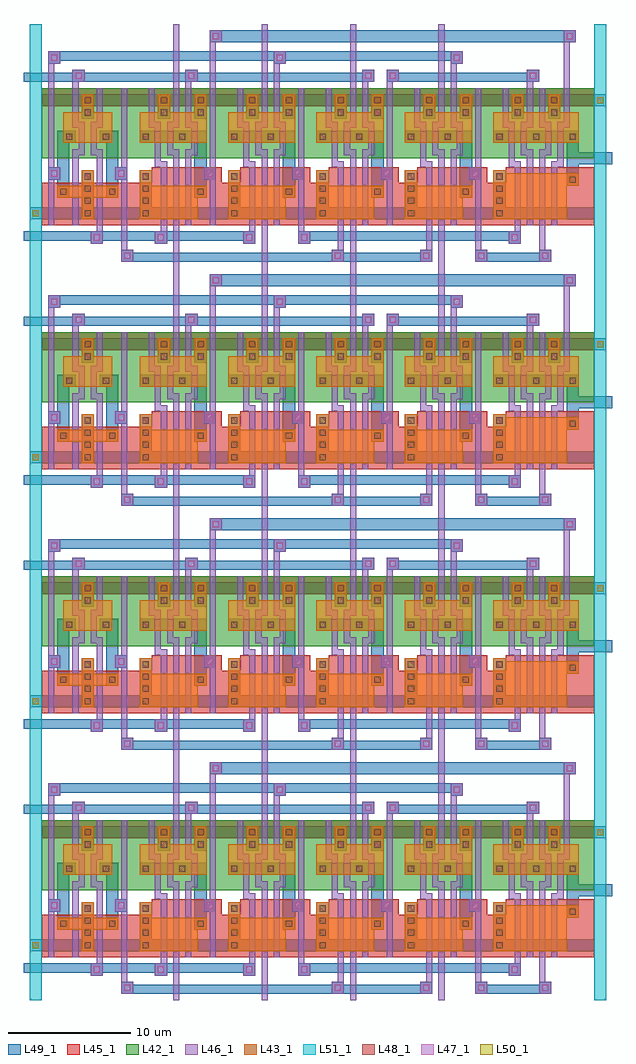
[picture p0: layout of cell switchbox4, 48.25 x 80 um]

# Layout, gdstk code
import gdstk
lib = gdstk.Library(unit=1e-6, precision=1e-11)
def R(c, l, rs):  # rectangles x0, y0, x1, y1
    for r in rs: c.add(gdstk.rectangle(r[:2], r[2:], *l))
def A(c, l, x, y, w, h, nx, ny, dx, dy):  # array of equal rectangles
    R(c, l, [(x+i*dx, y+j*dy, x+i*dx+w, y+j*dy+h) for i in range(nx) for j in range(ny)])
L42_1 = (42, 1)
L43_1 = (43, 1)
L45_1 = (45, 1)
L46_1 = (46, 1)
L47_1 = (47, 1)
L48_1 = (48, 1)
L49_1 = (49, 1)
L50_1 = (50, 1)
L51_1 = (51, 1)

dubinv = lib.new_cell('dubinv')
R(dubinv, L42_1, [(0,5.5,7.5,11.25)])
R(dubinv, L43_1, [(3.25,0.5,4.25,2.25), (1.25,2.25,6.25,3.25), (3.25,3.25,4.25,4.5), (1.75,6.75,5.75,9.25), (3.25,9.25,4.25,10.75)])
R(dubinv, L45_1, [(0,0,7.5,3.5), (0,9.75,7.5,11.25)])
R(dubinv, L46_1, [(0.5,0,1,0.5), (0.5,0,1,0.5), (0.5,0,1,0.5), (0.5,0,1,3.75), (2.5,0,3,0.5), (2.5,0,3,0.5), (2.5,0,3,0.5), (2.5,0,3,5.75), (4.5,0,5,0.5), (4.5,0,5,0.5), (4.5,0,5,0.5), (4.5,0,5,5.75), (6.5,0,7,0.5), (6.5,0,7,0.5), (6.5,0,7,0.5), (6.5,0,7,3.75), (0.5,3.75,1.5,4.75), (6,3.75,7,4.75), (0.5,4.75,1,11.25), (6.5,4.75,7,11.25), (2.5,5.75,3.5,6.25), (4,5.75,5,6.25), (3,6.25,3.5,8), (4,6.25,4.5,8), (2.5,8,3.5,8.5), (4,8,5,8.5), (2.5,8.5,3,11.25), (4.5,8.5,5,11.25), (0.5,10.75,1,11.25), (0.5,10.75,1,11.25), (0.5,10.75,1,11.25), (2.5,10.75,3,11.25), (2.5,10.75,3,11.25), (2.5,10.75,3,11.25), (4.5,10.75,5,11.25), (4.5,10.75,5,11.25), (4.5,10.75,5,11.25), (6.5,10.75,7,11.25), (6.5,10.75,7,11.25), (6.5,10.75,7,11.25)])
R(dubinv, L47_1, [(0.75,4,1.25,4.5), (6.25,4,6.75,4.5)])
A(dubinv, L48_1, 3.5, 0.75, 0.5, 0.5, 1, 4, 0, 1)
R(dubinv, L48_1, [(1.5,2.5,2,3), (5.5,2.5,6,3), (2,7,2.5,7.5), (5,7,5.5,7.5), (3.5,9,4,9.5), (3.5,10,4,10.5)])
R(dubinv, L49_1, [(0,0.5,0.75,1.5), (0,0.5,0.75,1.5), (0,0.5,0.75,1.5), (0,0.5,7.5,1.5), (6.75,0.5,7.5,1.5), (6.75,0.5,7.5,1.5), (6.75,0.5,7.5,1.5), (3.25,1.5,4.25,4.5), (1.25,2.25,2.25,3.75), (5.25,2.25,6.25,3.75), (0.5,3.75,2.25,4.75), (5.25,3.75,7,4.75), (1.25,4.75,2.25,6.75), (5.25,4.75,6.25,6.75), (1.25,6.75,2.75,7.75), (4.75,6.75,6.25,7.75), (3.25,8.75,4.25,9.75), (0,9.75,0.75,10.75), (0,9.75,0.75,10.75), (0,9.75,0.75,10.75), (0,9.75,7.5,10.75), (6.75,9.75,7.5,10.75), (6.75,9.75,7.5,10.75), (6.75,9.75,7.5,10.75)])

nan3 = lib.new_cell('nan3')
R(nan3, L42_1, [(0,5.5,8,11.25)])
R(nan3, L43_1, [(1.25,0.5,6,2.25), (1.25,2.25,6.75,3.25), (1.25,3.25,2.25,4.5), (1.25,6.75,6.75,9.25), (2.75,9.25,3.75,10.75), (5.75,9.25,6.75,10.75)])
R(nan3, L45_1, [(0,0,8,3.5), (2.25,3.5,8,4.75), (0,9.75,8,11.25)])
A(nan3, L46_1, 2, 8, 1, 0.5, 3, 1, 1.5, 0)
R(nan3, L46_1, [(3,0,3.5,0.5), (3,0,3.5,0.5), (3,0,3.5,0.5), (3,0,3.5,4.75), (4,0,4.5,0.5), (4,0,4.5,0.5), (4,0,4.5,0.5), (4,0,4.5,5.75), (5,0,5.5,0.5), (5,0,5.5,0.5), (5,0,5.5,0.5), (5,0,5.5,5.75), (7,0,7.5,0.5), (7,0,7.5,0.5), (7,0,7.5,0.5), (7,0,7.5,3.75), (6.5,3.75,7.5,4.75), (2.5,4.75,3.5,5.25), (7,4.75,7.5,11.25), (2.5,5.25,3,5.5), (2.5,5.5,3,5.75), (2.5,5.75,3,8), (3.5,5.75,4.5,6.25), (5,5.75,6,6.25), (3.5,6.25,4,8), (5.5,6.25,6,8), (2,8.5,2.5,11.25), (4,8.5,4.5,8.75), (5,8.5,5.5,11.25), (4,8.75,4.5,11.25), (2,10.75,2.5,11.25), (2,10.75,2.5,11.25), (2,10.75,2.5,11.25), (4,10.75,4.5,11.25), (4,10.75,4.5,11.25), (4,10.75,4.5,11.25), (5,10.75,5.5,11.25), (5,10.75,5.5,11.25), (5,10.75,5.5,11.25), (7,10.75,7.5,11.25), (7,10.75,7.5,11.25), (7,10.75,7.5,11.25)])
R(nan3, L47_1, [(6.75,4,7.25,4.5)])
A(nan3, L48_1, 1.5, 0.75, 0.5, 0.5, 1, 4, 0, 1)
R(nan3, L48_1, [(6,2.5,6.5,3), (1.5,7,2,7.5), (4.5,7,5,7.5), (3,9,3.5,9.5), (6,9,6.5,9.5), (3,10,3.5,10.5), (6,10,6.5,10.5)])
R(nan3, L49_1, [(0,0.5,0.75,1.5), (0,0.5,0.75,1.5), (0,0.5,0.75,1.5), (0,0.5,8,1.5), (7.25,0.5,8,1.5), (7.25,0.5,8,1.5), (7.25,0.5,8,1.5), (1.25,1.5,2.25,4.5), (5.75,2.25,6.75,3.75), (5.75,3.75,7.5,4.75), (5.75,4.75,6.75,6.75), (1.25,6.75,6.75,7.75), (2.75,8.75,3.75,9.75), (5.75,8.75,6.75,9.75), (0,9.75,0.75,10.75), (0,9.75,0.75,10.75), (0,9.75,0.75,10.75), (0,9.75,8,10.75), (7.25,9.75,8,10.75), (7.25,9.75,8,10.75), (7.25,9.75,8,10.75)])

nan4rout = lib.new_cell('nan4rout')
R(nan4rout, L42_1, [(0,5.5,9.5,11.25)])
R(nan4rout, L43_1, [(1.25,0.5,7.25,3.25), (1.25,3.25,8.25,4.25), (1.25,4.25,2.25,4.5), (1.25,6.75,8.25,9.25), (2.75,9.25,3.75,10.75), (5.75,9.25,6.75,10.75)])
R(nan4rout, L45_1, [(0,0,9.5,3.5), (2.25,3.5,9.5,4.75), (0,9.75,9.5,11.25)])
A(nan4rout, L46_1, 2, 8, 1, 0.5, 4, 1, 1.5, 0)
R(nan4rout, L46_1, [(3,0,3.5,0.5), (3,0,3.5,0.5), (3,0,3.5,0.5), (3,0,3.5,4.75), (4,0,4.5,0.5), (4,0,4.5,0.5), (4,0,4.5,0.5), (4,0,4.5,5.75), (5,0,5.5,0.5), (5,0,5.5,0.5), (5,0,5.5,0.5), (5,0,5.5,5.75), (6,0,6.5,0.5), (6,0,6.5,0.5), (6,0,6.5,0.5), (6,0,6.5,4.75), (2.5,4.75,3.5,5.25), (6,4.75,7,5.25), (2.5,5.25,3,5.5), (6.5,5.25,7,8), (2.5,5.5,3,5.75), (2.5,5.75,3,8), (3.5,5.75,4.5,6.25), (5,5.75,6,6.25), (3.5,6.25,4,8), (5.5,6.25,6,8), (2,8.5,2.5,11.25), (4,8.5,4.5,8.75), (5,8.5,5.5,11.25), (7,8.5,7.5,11.25), (4,8.75,4.5,11.25), (2,10.75,2.5,11.25), (2,10.75,2.5,11.25), (2,10.75,2.5,11.25), (4,10.75,4.5,11.25), (4,10.75,4.5,11.25), (4,10.75,4.5,11.25), (5,10.75,5.5,11.25), (5,10.75,5.5,11.25), (5,10.75,5.5,11.25), (7,10.75,7.5,11.25), (7,10.75,7.5,11.25), (7,10.75,7.5,11.25)])
A(nan4rout, L48_1, 1.5, 0.75, 0.5, 0.5, 1, 4, 0, 1)
A(nan4rout, L48_1, 1.5, 7, 0.5, 0.5, 3, 1, 3, 0)
R(nan4rout, L48_1, [(7.5,3.5,8,4), (3,9,3.5,9.5), (6,9,6.5,9.5), (3,10,3.5,10.5), (6,10,6.5,10.5)])
R(nan4rout, L49_1, [(0,0.5,0.75,1.5), (0,0.5,0.75,1.5), (0,0.5,0.75,1.5), (0,0.5,9.5,1.5), (8.75,0.5,9.5,1.5), (8.75,0.5,9.5,1.5), (8.75,0.5,9.5,1.5), (1.25,1.5,2.25,4.5), (7.25,3.25,8.25,5), (7.25,5,9.5,6), (8.75,5,9.5,6), (8.75,5,9.5,6), (8.75,5,9.5,6), (7.25,6,8.25,6.75), (1.25,6.75,8.25,7.75), (2.75,8.75,3.75,9.75), (5.75,8.75,6.75,9.75), (0,9.75,0.75,10.75), (0,9.75,0.75,10.75), (0,9.75,0.75,10.75), (0,9.75,9.5,10.75), (8.75,9.75,9.5,10.75), (8.75,9.75,9.5,10.75), (8.75,9.75,9.5,10.75)])

dec1of4 = lib.new_cell('dec1of4')
A(dec1of4, L46_1, 10.75, -3.5, 0.5, 3.5, 4, 1, 7.25, 0)
A(dec1of4, L46_1, 10.75, 11.25, 0.5, 5.25, 4, 1, 7.25, 0)
R(dec1of4, L46_1, [(10.75,-3.5,11.25,-3), (10.75,-3.5,11.25,-3), (10.75,-3.5,11.25,-3), (10.75,-3.5,11.25,-3), (18,-3.5,18.5,-3), (18,-3.5,18.5,-3), (18,-3.5,18.5,-3), (18,-3.5,18.5,-3), (25.25,-3.5,25.75,-3), (25.25,-3.5,25.75,-3), (25.25,-3.5,25.75,-3), (25.25,-3.5,25.75,-3), (32.5,-3.5,33,-3), (32.5,-3.5,33,-3), (32.5,-3.5,33,-3), (32.5,-3.5,33,-3), (6.5,-3,7.5,-2), (23.75,-3,24.75,-2), (31,-3,32,-2), (35.5,-3,36.5,-2), (40.75,-3,41.75,-2), (6.5,-2,7,0), (24.25,-2,24.75,0), (31.5,-2,32,0), (35.5,-2,36,0), (40.75,-2,41.25,0), (4,-1.5,5,-0.5), (9.25,-1.5,10.25,-0.5), (16.5,-1.5,17.5,-0.5), (21,-1.5,22,-0.5), (38.25,-1.5,39.25,-0.5), (4.5,-0.5,5,0), (9.75,-0.5,10.25,0), (17,-0.5,17.5,0), (21,-0.5,21.5,0), (38.75,-0.5,39.25,0), (0.5,11.25,1,13.25), (2.5,11.25,3,11.75), (11.75,11.25,12.25,11.75), (13.75,11.25,14.25,15), (19,11.25,19.5,13.25), (26.25,11.25,26.75,11.75), (28.25,11.25,28.75,11.75), (33.5,11.25,34,13.25), (39.75,11.25,40.25,11.75), (42.75,11.25,43.25,15), (2.5,11.75,3.5,12.75), (11.75,11.75,12.75,12.75), (26.25,11.75,27.25,12.75), (28.25,11.75,29.25,12.75), (39.75,11.75,40.75,12.75), (0.5,13.25,1.5,14.25), (19,13.25,20,14.25), (33.5,13.25,34.5,14.25), (13.75,15,14.75,16), (42.75,15,43.75,16), (10.75,16,11.25,16.5), (10.75,16,11.25,16.5), (10.75,16,11.25,16.5), (10.75,16,11.25,16.5), (18,16,18.5,16.5), (18,16,18.5,16.5), (18,16,18.5,16.5), (18,16,18.5,16.5), (25.25,16,25.75,16.5), (25.25,16,25.75,16.5), (25.25,16,25.75,16.5), (25.25,16,25.75,16.5), (32.5,16,33,16.5), (32.5,16,33,16.5), (32.5,16,33,16.5), (32.5,16,33,16.5)])
R(dec1of4, L47_1, [(6.75,-2.75,7.25,-2.25), (24,-2.75,24.5,-2.25), (31.25,-2.75,31.75,-2.25), (35.75,-2.75,36.25,-2.25), (41,-2.75,41.5,-2.25), (4.25,-1.25,4.75,-0.75), (9.5,-1.25,10,-0.75), (16.75,-1.25,17.25,-0.75), (21.25,-1.25,21.75,-0.75), (38.5,-1.25,39,-0.75), (2.75,12,3.25,12.5), (12,12,12.5,12.5), (26.5,12,27,12.5), (28.5,12,29,12.5), (40,12,40.5,12.5), (0.75,13.5,1.25,14), (19.25,13.5,19.75,14), (33.75,13.5,34.25,14), (14,15.25,14.5,15.75), (43,15.25,43.5,15.75)])
R(dec1of4, L49_1, [(6.5,-3,32,-2.25), (35.5,-3,41.75,-2.25), (6.5,-2.25,7.5,-2), (23.75,-2.25,24.75,-2), (31,-2.25,32,-2), (35.5,-2.25,36.5,-2), (40.75,-2.25,41.75,-2), (4,-1.5,5,-1.25), (9.25,-1.5,10.25,-1.25), (16.5,-1.5,17.5,-1.25), (21,-1.5,22,-1.25), (38.25,-1.5,39.25,-1.25), (0,-1.25,0.75,-0.5), (0,-1.25,0.75,-0.5), (0,-1.25,0.75,-0.5), (0,-1.25,17.5,-0.5), (21,-1.25,39.25,-0.5), (0,0.5,0.75,1.5), (0,0.5,0.75,1.5), (0,0.5,0.75,1.5), (44.5,0.5,45.25,1.5), (44.5,0.5,45.25,1.5), (44.5,0.5,45.25,1.5), (44.5,5,45.25,6), (44.5,5,45.25,6), (44.5,5,45.25,6), (0,9.75,0.75,10.75), (0,9.75,0.75,10.75), (0,9.75,0.75,10.75), (44.5,9.75,45.25,10.75), (44.5,9.75,45.25,10.75), (44.5,9.75,45.25,10.75), (0,11.75,0.75,12.5), (0,11.75,0.75,12.5), (0,11.75,0.75,12.5), (0.25,11.75,0.5,12.5), (0.75,11.75,27.25,12.5), (28.25,11.75,40.75,12.5), (2.5,12.5,3.5,12.75), (11.75,12.5,12.75,12.75), (26.25,12.5,27.25,12.75), (28.25,12.5,29.25,12.75), (39.75,12.5,40.75,12.75), (0.5,13.25,1.5,13.5), (19,13.25,20,13.5), (33.5,13.25,34.5,13.5), (0.5,13.5,34.5,14.25), (13.75,15,43.75,16)])
dec1of4.add(gdstk.Reference(dubinv, (0,0)))
dec1of4.add(gdstk.Reference(nan3, (6.75,0)))
dec1of4.add(gdstk.Reference(nan3, (14,0)))
dec1of4.add(gdstk.Reference(nan3, (21.25,0)))
dec1of4.add(gdstk.Reference(nan3, (28.5,0)))
dec1of4.add(gdstk.Reference(nan4rout, (35.75,0)))

switchbox4 = lib.new_cell('switchbox4')
R(switchbox4, L46_1, [(12.25,0,12.75,0.5), (12.25,0,12.75,0.5), (12.25,0,12.75,0.5), (12.25,0,12.75,0.5), (19.5,0,20,0.5), (19.5,0,20,0.5), (19.5,0,20,0.5), (19.5,0,20,0.5), (26.75,0,27.25,0.5), (26.75,0,27.25,0.5), (26.75,0,27.25,0.5), (26.75,0,27.25,0.5), (34,0,34.5,0.5), (34,0,34.5,0.5), (34,0,34.5,0.5), (34,0,34.5,0.5), (12.25,79.5,12.75,80), (12.25,79.5,12.75,80), (12.25,79.5,12.75,80), (12.25,79.5,12.75,80), (19.5,79.5,20,80), (19.5,79.5,20,80), (19.5,79.5,20,80), (19.5,79.5,20,80), (26.75,79.5,27.25,80), (26.75,79.5,27.25,80), (26.75,79.5,27.25,80), (26.75,79.5,27.25,80), (34,79.5,34.5,80), (34,79.5,34.5,80), (34,79.5,34.5,80), (34,79.5,34.5,80)])
A(switchbox4, L49_1, 0.5, 4, 1, 1, 1, 4, 0, 20)
A(switchbox4, L49_1, 46.75, 13.25, 1, 1, 1, 4, 0, 20)
R(switchbox4, L49_1, [(0,2.25,0.75,3), (0,2.25,0.75,3), (0,2.25,0.75,3), (0,2.25,0.75,3), (0,2.25,0.5,3), (0.75,2.25,1.5,3), (46.75,8.5,48.25,9.5), (47.5,8.5,48.25,9.5), (47.5,8.5,48.25,9.5), (47.5,8.5,48.25,9.5), (47.5,8.5,48.25,9.5), (0,15.25,0.75,16), (0,15.25,0.75,16), (0,15.25,0.75,16), (0,15.25,0.75,16), (0,15.25,1.5,16), (0,22.25,0.75,23), (0,22.25,0.75,23), (0,22.25,0.75,23), (0,22.25,0.75,23), (0,22.25,1.5,23), (46.75,28.5,48,29.5), (47.5,28.5,48.25,29.5), (47.5,28.5,48.25,29.5), (47.5,28.5,48.25,29.5), (47.5,28.5,48.25,29.5), (0,35.25,0.75,36), (0,35.25,0.75,36), (0,35.25,0.75,36), (0,35.25,0.75,36), (0,35.25,1.5,36), (0,42.25,0.75,43), (0,42.25,0.75,43), (0,42.25,0.75,43), (0,42.25,0.75,43), (0,42.25,1.5,43), (46.75,48.5,48.25,49.5), (47.5,48.5,48.25,49.5), (47.5,48.5,48.25,49.5), (47.5,48.5,48.25,49.5), (47.5,48.5,48.25,49.5), (0,55.25,0.75,56), (0,55.25,0.75,56), (0,55.25,0.75,56), (0,55.25,0.75,56), (0,55.25,1.5,56), (0,62.25,0.75,63), (0,62.25,0.75,63), (0,62.25,0.75,63), (0,62.25,0.75,63), (0,62.25,1.5,63), (46.75,68.5,48.25,69.5), (47.5,68.5,48.25,69.5), (47.5,68.5,48.25,69.5), (47.5,68.5,48.25,69.5), (47.5,68.5,48.25,69.5), (0,75.25,0.75,76), (0,75.25,0.75,76), (0,75.25,0.75,76), (0,75.25,0.75,76), (0,75.25,1.5,76)])
A(switchbox4, L50_1, 0.75, 4.25, 0.5, 0.5, 1, 4, 0, 20)
A(switchbox4, L50_1, 47, 13.5, 0.5, 0.5, 1, 4, 0, 20)
R(switchbox4, L51_1, [(0.5,0,1.5,0.75), (0.5,0,1.5,0.75), (0.5,0,1.5,0.75), (0.5,0,1.5,80), (46.75,0,47.75,0.75), (46.75,0,47.75,0.75), (46.75,0,47.75,0.75), (46.75,0,47.75,80), (0.5,79.25,1.5,80), (0.5,79.25,1.5,80), (0.5,79.25,1.5,80), (46.75,79.25,47.75,80), (46.75,79.25,47.75,80), (46.75,79.25,47.75,80)])
switchbox4.add(gdstk.Reference(dec1of4, (1.5,3.5)))
switchbox4.add(gdstk.Reference(dec1of4, (1.5,23.5)))
switchbox4.add(gdstk.Reference(dec1of4, (1.5,43.5)))
switchbox4.add(gdstk.Reference(dec1of4, (1.5,63.5)))

lib.write_gds('switchbox4.gds')
